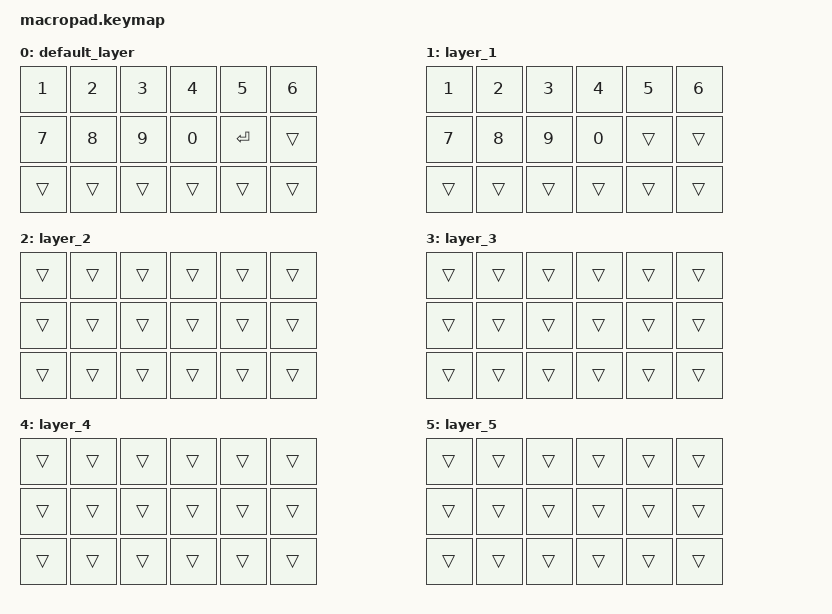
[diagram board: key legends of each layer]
#include <behaviors.dtsi>
#include <dt-bindings/zmk/keys.h>

/ {
    combos {
        compatible = "zmk,combos";
        combo_studio_unlock {
            timeout-ms = <50>;
            key-positions = <16 17>;
            bindings = <&studio_unlock>;
        };
        combo_bootloader {
            timeout-ms = <50>;
            key-positions = <0 1 2>;
            bindings = <&bootloader>;
        };
    };

    keymap {
        compatible = "zmk,keymap";

        default_layer {
            bindings = <
                &kp N1 &kp N2 &kp N3 &kp N4 &kp N5 &kp N6
                &kp N7 &kp N8 &kp N9 &kp N0 &kp RET &trans
                &trans &trans &trans &trans &trans &trans
            >;
        };

        layer_1 {
            bindings = <
                &kp N1 &kp N2 &kp N3 &kp N4 &kp N5 &kp N6
                &kp N7 &kp N8 &kp N9 &kp N0 &trans &trans
                &trans &trans &trans &trans &trans &trans
            >;
        };

        layer_2 {
            bindings = <
                &trans &trans &trans &trans &trans &trans
                &trans &trans &trans &trans &trans &trans
                &trans &trans &trans &trans &trans &trans
            >;
        };

        layer_3 {
            bindings = <
                &trans &trans &trans &trans &trans &trans
                &trans &trans &trans &trans &trans &trans
                &trans &trans &trans &trans &trans &trans
            >;
        };

        layer_4 {
            bindings = <
                &trans &trans &trans &trans &trans &trans
                &trans &trans &trans &trans &trans &trans
                &trans &trans &trans &trans &trans &trans
            >;
        };

        layer_5 {
            bindings = <
                &trans &trans &trans &trans &trans &trans
                &trans &trans &trans &trans &trans &trans
                &trans &trans &trans &trans &trans &trans
            >;
        };
    };
};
